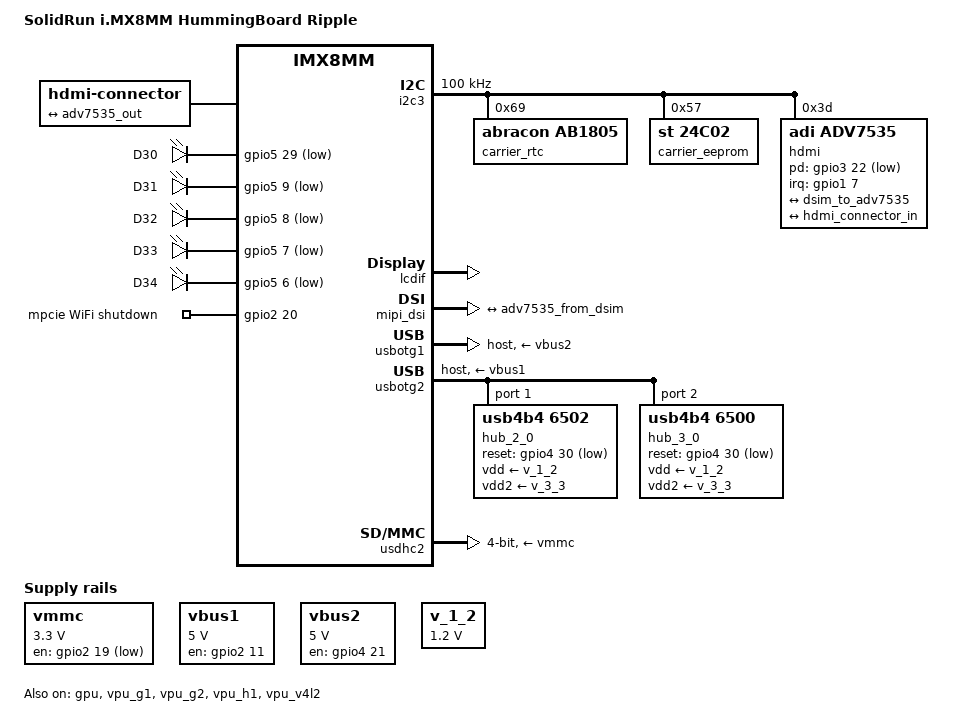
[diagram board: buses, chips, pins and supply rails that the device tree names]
// SPDX-License-Identifier: (GPL-2.0+ OR MIT)
/*
 * Copyright 2025 Josua Mayer <josua@solid-run.com>
 */

/dts-v1/;

#include "imx8mm-sr-som.dtsi"

/ {
	model = "SolidRun i.MX8MM HummingBoard Ripple";
	compatible = "solidrun,imx8mm-hummingboard-ripple",
		     "solidrun,imx8mm-sr-som", "fsl,imx8mm";

	aliases {
		rtc0 = &carrier_rtc;
		rtc1 = &snvs_rtc;
	};

	hdmi-connector {
		compatible = "hdmi-connector";
		label = "hdmi";
		type = "c";

		port {
			hdmi_connector_in: endpoint {
				remote-endpoint = <&adv7535_out>;
			};
		};
	};

	leds {
		compatible = "gpio-leds";
		pinctrl-names = "default";
		pinctrl-0 = <&led_pins>;

		d30 {
			label = "D30";
			colour = "green";
			gpios = <&gpio5 29 GPIO_ACTIVE_LOW>;
			default-state = "on";
		};

		d31 {
			label = "D31";
			colour = "green";
			gpios = <&gpio5 9 GPIO_ACTIVE_LOW>;
			default-state = "on";
		};

		d32 {
			label = "D32";
			colour = "green";
			gpios = <&gpio5 8 GPIO_ACTIVE_LOW>;
			default-state = "on";
		};

		d33 {
			label = "D33";
			colour = "green";
			gpios = <&gpio5 7 GPIO_ACTIVE_LOW>;
			default-state = "on";
		};

		d34 {
			label = "D34";
			colour = "green";
			gpios = <&gpio5 6 GPIO_ACTIVE_LOW>;
			default-state = "on";
		};
	};

        rfkill-mpcie-wifi {
		compatible = "rfkill-gpio";
		pinctrl-names = "default";
		pinctrl-0 = <&pcie_rfkill_pins>;
		label = "mpcie WiFi";
		radio-type = "wlan";
		/* rfkill-gpio inverts internally */
		shutdown-gpios = <&gpio2 20 GPIO_ACTIVE_HIGH>;
	};

	vmmc: regulator-mmc {
		compatible = "regulator-fixed";
		pinctrl-names = "default";
		pinctrl-0 = <&vmmc_pins>;
		regulator-name = "vmmc";
		regulator-min-microvolt = <3300000>;
		regulator-max-microvolt = <3300000>;
		gpio = <&gpio2 19 GPIO_ACTIVE_HIGH>;
		startup-delay-us = <250>;
	};

	vbus1: regulator-vbus-1 {
		compatible = "regulator-fixed";
		regulator-name = "vbus1";
		gpio = <&gpio2 11 GPIO_ACTIVE_HIGH>;
		enable-active-high;
		pinctrl-names = "default";
		pinctrl-0 = <&vbus1_pins>;
		regulator-min-microvolt = <5000000>;
		regulator-max-microvolt = <5000000>;
	};

	vbus2: regulator-vbus-2 {
		compatible = "regulator-fixed";
		regulator-name = "vbus2";
		gpio = <&gpio4 21 GPIO_ACTIVE_HIGH>;
		enable-active-high;
		pinctrl-names = "default";
		pinctrl-0 = <&vbus2_pins>;
		regulator-min-microvolt = <5000000>;
		regulator-max-microvolt = <5000000>;
	};

	v_1_2: regulator-1-2 {
		compatible = "regulator-fixed";
		regulator-name = "1v2";
		regulator-min-microvolt = <1200000>;
		regulator-max-microvolt = <1200000>;
	};
};

&gpio2 {
	status = "okay";
};

&gpio3 {
	status = "okay";
};

&gpio5 {
	status = "okay";
};

&gpu {
	status = "okay";
};

&i2c3 {
	clock-frequency = <100000>;
	pinctrl-names = "default";
	pinctrl-0 = <&i2c3_pins>;
	status = "okay";

	carrier_rtc: rtc@69 {
		compatible = "abracon,ab1805";
		reg = <0x69>;
		abracon,tc-diode = "schottky";
		abracon,tc-resistor = <3>;
	};

	carrier_eeprom: eeprom@57{
		compatible = "st,24c02", "atmel,24c02";
		reg = <0x57>;
		pagesize = <16>;
	};

	hdmi@3d {
		compatible = "adi,adv7535";
		reg = <0x3d>;
		adi,addr-cec = <0x3c>;
		adi,addr-edid = <0x3f>;
		adi,addr-pkt = <0x38>;
                adi,dsi-lanes = <4>;
		pinctrl-names = "default";
		pinctrl-0 = <&hdmi_pins>;
		interrupt-parent = <&gpio1>;
		interrupts = <7 IRQ_TYPE_EDGE_FALLING>;
		pd-gpios = <&gpio3 22 GPIO_ACTIVE_LOW>;

		ports {
			#address-cells = <1>;
			#size-cells = <0>;

			port@0 {
				reg = <0>;

				adv7535_from_dsim: endpoint {
					remote-endpoint = <&dsim_to_adv7535>;
				};
			};

			port@1 {
				reg = <1>;

				adv7535_out: endpoint {
					remote-endpoint = <&hdmi_connector_in>;
				};
			};
		};
	};
};

&iomuxc {
	hdmi_pins: hdmi-pins {
		fsl,pins = <
			MX8MM_IOMUXC_GPIO1_IO07_GPIO1_IO7	0x0
			MX8MM_IOMUXC_SAI5_RXD1_GPIO3_IO22	0x0
		>;
	};

	i2c3_pins: i2c3-pins {
		fsl,pins = <
			MX8MM_IOMUXC_I2C3_SCL_I2C3_SCL		0x400001c3
			MX8MM_IOMUXC_I2C3_SDA_I2C3_SDA		0x400001c3
		>;
	};

	led_pins: led-pins {
		fsl,pins = <
			MX8MM_IOMUXC_UART4_TXD_GPIO5_IO29	0x0
			MX8MM_IOMUXC_ECSPI1_SS0_GPIO5_IO9	0x0
			MX8MM_IOMUXC_ECSPI1_MISO_GPIO5_IO8	0x0
			MX8MM_IOMUXC_ECSPI1_MOSI_GPIO5_IO7	0x0
			MX8MM_IOMUXC_ECSPI1_SCLK_GPIO5_IO6	0x0
		>;
	};

	pcie_rfkill_pins: pcie-rfkill-pins {
		fsl,pins = <
			MX8MM_IOMUXC_SD2_WP_GPIO2_IO20		0x0
		>;
	};

	usb_hub_pins: usb-hub-pins {
		fsl,pins = <
			MX8MM_IOMUXC_SAI3_RXD_GPIO4_IO30	0x0
		>;
	};

	usdhc2_pins: usdhc2-pins {
		fsl,pins = <
			MX8MM_IOMUXC_SD2_CLK_USDHC2_CLK		0x190
			MX8MM_IOMUXC_SD2_CMD_USDHC2_CMD		0x1d0
			MX8MM_IOMUXC_SD2_DATA0_USDHC2_DATA0	0x1d0
			MX8MM_IOMUXC_SD2_DATA1_USDHC2_DATA1	0x1d0
			MX8MM_IOMUXC_SD2_DATA2_USDHC2_DATA2	0x1d0
			MX8MM_IOMUXC_SD2_DATA3_USDHC2_DATA3	0x1d0
			MX8MM_IOMUXC_GPIO1_IO04_USDHC2_VSELECT	0x140
			MX8MM_IOMUXC_SD2_CD_B_USDHC2_CD_B	0x0
		>;
	};

	usdhc2_100mhz_pins: usdhc2-100mhz-pins {
		fsl,pins = <
			MX8MM_IOMUXC_SD2_CLK_USDHC2_CLK		0x194
			MX8MM_IOMUXC_SD2_CMD_USDHC2_CMD		0x1d4
			MX8MM_IOMUXC_SD2_DATA0_USDHC2_DATA0	0x1d4
			MX8MM_IOMUXC_SD2_DATA1_USDHC2_DATA1	0x1d4
			MX8MM_IOMUXC_SD2_DATA2_USDHC2_DATA2	0x1d4
			MX8MM_IOMUXC_SD2_DATA3_USDHC2_DATA3	0x1d4
			MX8MM_IOMUXC_GPIO1_IO04_USDHC2_VSELECT	0x140
			MX8MM_IOMUXC_SD2_CD_B_USDHC2_CD_B	0x0
		>;
	};

	usdhc2_200mhz_pins: usdhc2-100mhz-pins {
		fsl,pins = <
			MX8MM_IOMUXC_SD2_CLK_USDHC2_CLK		0x196
			MX8MM_IOMUXC_SD2_CMD_USDHC2_CMD		0x1d6
			MX8MM_IOMUXC_SD2_DATA0_USDHC2_DATA0	0x1d6
			MX8MM_IOMUXC_SD2_DATA1_USDHC2_DATA1	0x1d6
			MX8MM_IOMUXC_SD2_DATA2_USDHC2_DATA2	0x1d6
			MX8MM_IOMUXC_SD2_DATA3_USDHC2_DATA3	0x1d6
			MX8MM_IOMUXC_GPIO1_IO04_USDHC2_VSELECT	0x140
			MX8MM_IOMUXC_SD2_CD_B_USDHC2_CD_B	0x0
		>;
	};

	vbus1_pins: vbus-1-pins {
		fsl,pins = <
			MX8MM_IOMUXC_SD1_STROBE_GPIO2_IO11	0x20
		>;
	};

	vbus2_pins: vbus-2-pins {
		fsl,pins = <
			MX8MM_IOMUXC_SAI2_RXFS_GPIO4_IO21	0x20
		>;
	};

	vmmc_pins: vmmc-pins {
		fsl,pins = <
			MX8MM_IOMUXC_SD2_RESET_B_GPIO2_IO19	0x41
		>;
	};
};

&lcdif {
       status = "okay";
};

&mipi_dsi {
	status = "okay";

	port@1 {
		dsim_to_adv7535: endpoint {
			remote-endpoint = <&adv7535_from_dsim>;
			attach-bridge;
		};
	};
};

&usbotg1 {
	dr_mode = "host";
	vbus-supply = <&vbus2>;
	status = "okay";
};

&usbotg2 {
	status = "okay";
	dr_mode = "host";
	vbus-supply = <&vbus1>;
	#address-cells = <1>;
	#size-cells = <0>;
	pinctrl-names = "default";
	pinctrl-0 = <&usb_hub_pins>;

	hub_2_0: hub@1 {
		compatible = "usb4b4,6502";
		reg = <1>;
		peer-hub = <&hub_3_0>;
		reset-gpios = <&gpio4 30 GPIO_ACTIVE_LOW>;
		vdd-supply = <&v_1_2>;
		vdd2-supply = <&v_3_3>;
	};

	/* this device is not visible because host supports 2.0 only */
	hub_3_0: hub@2 {
		compatible = "usb4b4,6500";
		reg = <2>;
		peer-hub = <&hub_2_0>;
		reset-gpios = <&gpio4 30 GPIO_ACTIVE_LOW>;
		vdd-supply = <&v_1_2>;
		vdd2-supply = <&v_3_3>;
	};
};

&usdhc2 {
	pinctrl-names = "default", "state_100mhz", "state_200mhz";
	pinctrl-0 = <&usdhc2_pins>;
	pinctrl-1 = <&usdhc2_100mhz_pins>;
	pinctrl-2 = <&usdhc2_200mhz_pins>;
	vmmc-supply = <&vmmc>;
	bus-width = <4>;
	status = "okay";
};

&vpu_g1 {
	status = "okay";
};

&vpu_g2 {
	status = "okay";
};

&vpu_h1 {
	status = "okay";
};

&vpu_v4l2 {
	status = "okay";
};
